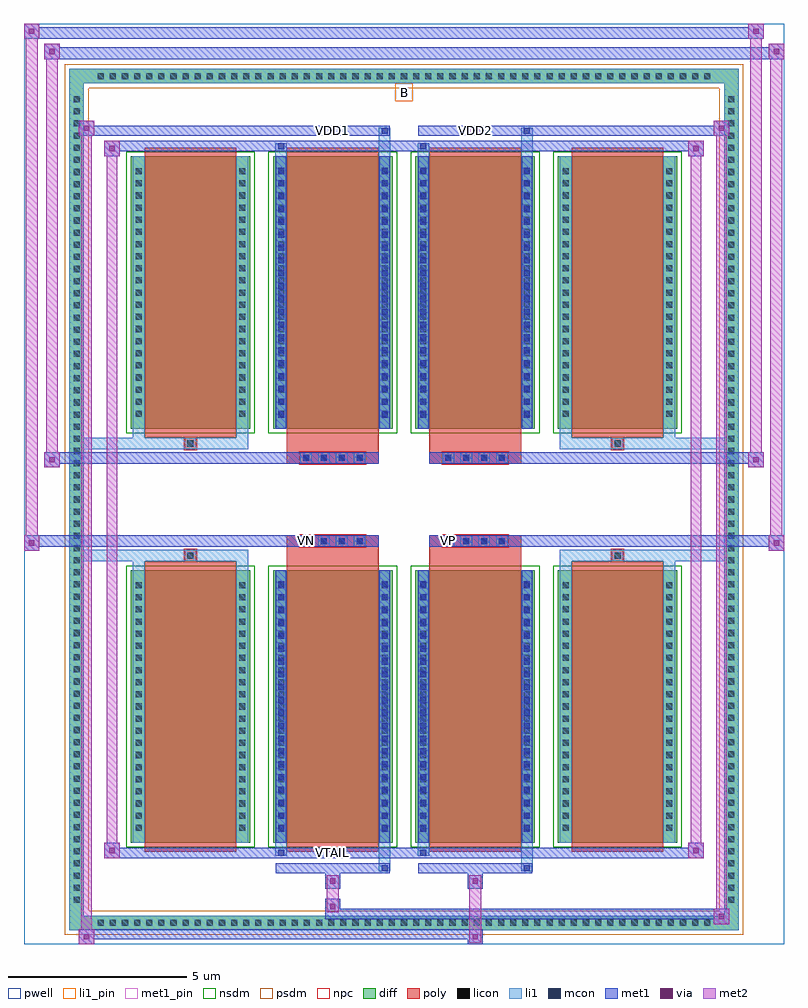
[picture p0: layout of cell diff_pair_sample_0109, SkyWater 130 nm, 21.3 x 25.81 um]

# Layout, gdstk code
import gdstk
lib = gdstk.Library(unit=1e-6, precision=5e-09)
def R(c, l, rs):  # rectangles x0, y0, x1, y1
    for r in rs: c.add(gdstk.rectangle(r[:2], r[2:], *l))
def A(c, l, x, y, w, h, nx, ny, dx, dy):  # array of equal rectangles
    R(c, l, [(x+i*dx, y+j*dy, x+i*dx+w, y+j*dy+h) for i in range(nx) for j in range(ny)])
def P(c, l, *ps):  # polygons
    for p in ps: c.add(gdstk.Polygon(p, *l))
pwell = (64, 44)
diff = (65, 20)
poly = (66, 20)
licon = (66, 44)
li1_pin = (67, 16)
li1 = (67, 20)
mcon = (67, 44)
met1_pin = (68, 16)
met1 = (68, 20)
via = (68, 44)
met2 = (69, 20)
nsdm = (93, 44)
psdm = (94, 20)
npc = (95, 20)

diff_pair_sample_0109 = lib.new_cell('diff_pair_sample_0109')
R(diff_pair_sample_0109, pwell, [(-10.65,-12.47,10.65,13.34), (-7.97,-10.66,-0.01,-0.8), (0.01,-10.66,7.97,-0.8), (-7.97,0.8,-0.01,10.66), (0.01,0.8,7.97,10.66)])
A(diff_pair_sample_0109, diff, -8.705, -12.07, 0.41, 0.41, 51, 2, 0.34, 23.73)
A(diff_pair_sample_0109, diff, -9.38, -11.425, 0.41, 0.41, 1, 67, 0, 0.34)
A(diff_pair_sample_0109, diff, 8.97, -11.425, 0.41, 0.41, 1, 67, 0, 0.34)
A(diff_pair_sample_0109, diff, -7.66, -9.615, 3.35, 7.63, 4, 2, 3.99, 11.6)
R(diff_pair_sample_0109, diff, [(-8.705,-12.07,8.705,-11.66), (-9.38,-11.425,-8.97,11.425), (8.97,-11.425,9.38,11.425), (-8.705,11.66,8.705,12.07)])
P(diff_pair_sample_0109, diff, [(9.38,12.07),(-9.38,12.07),(-9.38,-11.66),(-8.97,-11.66),(-8.97,11.66),(8.97,11.66),(8.97,-11.66),(-8.97,-11.66),(-9.38,-11.66),(-9.38,-12.07),(9.38,-12.07)])
A(diff_pair_sample_0109, poly, -7.27, -9.865, 2.57, 8.13, 4, 2, 3.99, 11.6)
A(diff_pair_sample_0109, poly, -2.91, -1.33, 0.33, 0.33, 4, 2, 0.5, 2.33)
A(diff_pair_sample_0109, poly, 1.08, -1.33, 0.33, 0.33, 4, 2, 0.5, 2.33)
R(diff_pair_sample_0109, poly, [(-6.15,-1.735,-5.82,-1.405), (-6.15,-1.735,-5.82,-1.405), (-3.28,-1.735,-0.71,-1.33), (0.71,-1.735,3.28,-1.33), (5.82,-1.735,6.15,-1.405), (5.82,-1.735,6.15,-1.405), (-3.28,-1.33,-0.71,-1), (0.71,-1.33,3.28,-1), (-3.28,1,-0.71,1.33), (0.71,1,3.28,1.33), (-3.28,1.33,-0.71,1.735), (0.71,1.33,3.28,1.735), (-6.15,1.405,-5.82,1.735), (-6.15,1.405,-5.82,1.735), (5.82,1.405,6.15,1.735), (5.82,1.405,6.15,1.735)])
A(diff_pair_sample_0109, licon, -8.585, -11.95, 0.17, 0.17, 51, 2, 0.34, 23.73)
A(diff_pair_sample_0109, licon, -9.26, -11.305, 0.17, 0.17, 1, 67, 0, 0.34)
A(diff_pair_sample_0109, licon, 9.09, -11.305, 0.17, 0.17, 1, 67, 0, 0.34)
A(diff_pair_sample_0109, licon, -7.52, -9.285, 0.17, 0.17, 1, 21, 0, 0.34)
A(diff_pair_sample_0109, licon, -4.62, -9.285, 0.17, 0.17, 1, 21, 0, 0.34)
A(diff_pair_sample_0109, licon, -3.53, -9.285, 0.17, 0.17, 1, 21, 0, 0.34)
A(diff_pair_sample_0109, licon, -0.63, -9.285, 0.17, 0.17, 1, 21, 0, 0.34)
A(diff_pair_sample_0109, licon, 0.46, -9.285, 0.17, 0.17, 1, 21, 0, 0.34)
A(diff_pair_sample_0109, licon, 3.36, -9.285, 0.17, 0.17, 1, 21, 0, 0.34)
A(diff_pair_sample_0109, licon, 4.45, -9.285, 0.17, 0.17, 1, 21, 0, 0.34)
A(diff_pair_sample_0109, licon, 7.35, -9.285, 0.17, 0.17, 1, 21, 0, 0.34)
A(diff_pair_sample_0109, licon, -2.83, -1.25, 0.17, 0.17, 4, 2, 0.5, 2.33)
A(diff_pair_sample_0109, licon, 1.16, -1.25, 0.17, 0.17, 4, 2, 0.5, 2.33)
A(diff_pair_sample_0109, licon, -7.52, 2.315, 0.17, 0.17, 1, 21, 0, 0.34)
A(diff_pair_sample_0109, licon, -4.62, 2.315, 0.17, 0.17, 1, 21, 0, 0.34)
A(diff_pair_sample_0109, licon, -3.53, 2.315, 0.17, 0.17, 1, 21, 0, 0.34)
A(diff_pair_sample_0109, licon, -0.63, 2.315, 0.17, 0.17, 1, 21, 0, 0.34)
A(diff_pair_sample_0109, licon, 0.46, 2.315, 0.17, 0.17, 1, 21, 0, 0.34)
A(diff_pair_sample_0109, licon, 3.36, 2.315, 0.17, 0.17, 1, 21, 0, 0.34)
A(diff_pair_sample_0109, licon, 4.45, 2.315, 0.17, 0.17, 1, 21, 0, 0.34)
A(diff_pair_sample_0109, licon, 7.35, 2.315, 0.17, 0.17, 1, 21, 0, 0.34)
R(diff_pair_sample_0109, licon, [(-6.07,-1.655,-5.9,-1.485), (5.9,-1.655,6.07,-1.485), (-6.07,1.485,-5.9,1.655), (5.9,1.485,6.07,1.655)])
R(diff_pair_sample_0109, li1_pin, [(-0.25,11.16,0.25,11.66)])
A(diff_pair_sample_0109, li1, -8.665, -12.03, 0.33, 0.33, 51, 2, 0.34, 23.73)
A(diff_pair_sample_0109, li1, -9.34, -11.385, 0.33, 0.33, 1, 67, 0, 0.34)
A(diff_pair_sample_0109, li1, 9.01, -11.385, 0.33, 0.33, 1, 67, 0, 0.34)
A(diff_pair_sample_0109, li1, -7.6, -9.365, 0.33, 0.33, 1, 21, 0, 0.34)
A(diff_pair_sample_0109, li1, -4.7, -9.365, 0.33, 0.33, 1, 21, 0, 0.34)
A(diff_pair_sample_0109, li1, -3.61, -9.365, 0.33, 0.33, 1, 21, 0, 0.34)
A(diff_pair_sample_0109, li1, -0.71, -9.365, 0.33, 0.33, 1, 21, 0, 0.34)
A(diff_pair_sample_0109, li1, 0.38, -9.365, 0.33, 0.33, 1, 21, 0, 0.34)
A(diff_pair_sample_0109, li1, 3.28, -9.365, 0.33, 0.33, 1, 21, 0, 0.34)
A(diff_pair_sample_0109, li1, 4.37, -9.365, 0.33, 0.33, 1, 21, 0, 0.34)
A(diff_pair_sample_0109, li1, 7.27, -9.365, 0.33, 0.33, 1, 21, 0, 0.34)
A(diff_pair_sample_0109, li1, -3.53, -9.305, 0.17, 0.17, 1, 20, 0, 0.36)
A(diff_pair_sample_0109, li1, -0.63, -9.305, 0.17, 0.17, 1, 20, 0, 0.36)
A(diff_pair_sample_0109, li1, 0.46, -9.305, 0.17, 0.17, 1, 20, 0, 0.36)
A(diff_pair_sample_0109, li1, 3.36, -9.305, 0.17, 0.17, 1, 20, 0, 0.36)
A(diff_pair_sample_0109, li1, -2.91, -1.33, 0.33, 0.33, 4, 2, 0.5, 2.33)
A(diff_pair_sample_0109, li1, 1.08, -1.33, 0.33, 0.33, 4, 2, 0.5, 2.33)
A(diff_pair_sample_0109, li1, -7.6, 2.235, 0.33, 0.33, 1, 21, 0, 0.34)
A(diff_pair_sample_0109, li1, -4.7, 2.235, 0.33, 0.33, 1, 21, 0, 0.34)
A(diff_pair_sample_0109, li1, -3.61, 2.235, 0.33, 0.33, 1, 21, 0, 0.34)
A(diff_pair_sample_0109, li1, -0.71, 2.235, 0.33, 0.33, 1, 21, 0, 0.34)
A(diff_pair_sample_0109, li1, 0.38, 2.235, 0.33, 0.33, 1, 21, 0, 0.34)
A(diff_pair_sample_0109, li1, 3.28, 2.235, 0.33, 0.33, 1, 21, 0, 0.34)
A(diff_pair_sample_0109, li1, 4.37, 2.235, 0.33, 0.33, 1, 21, 0, 0.34)
A(diff_pair_sample_0109, li1, 7.27, 2.235, 0.33, 0.33, 1, 21, 0, 0.34)
A(diff_pair_sample_0109, li1, -3.53, 2.295, 0.17, 0.17, 1, 20, 0, 0.36)
A(diff_pair_sample_0109, li1, -0.63, 2.295, 0.17, 0.17, 1, 20, 0, 0.36)
A(diff_pair_sample_0109, li1, 0.46, 2.295, 0.17, 0.17, 1, 20, 0, 0.36)
A(diff_pair_sample_0109, li1, 3.36, 2.295, 0.17, 0.17, 1, 20, 0, 0.36)
R(diff_pair_sample_0109, li1, [(-9.38,-12.07,-8.97,-11.66), (-9.38,-12.07,-8.97,-11.66), (-8.97,-12.07,8.97,-11.66), (8.97,-12.07,9.38,-11.66), (8.97,-12.07,9.38,-11.66), (-9.38,-11.66,-8.97,11.66), (8.97,-11.66,9.38,11.66), (-0.71,-10.42,-0.38,-9.615), (-0.63,-10.42,-0.46,-10.25), (3.28,-10.42,3.61,-9.615), (3.36,-10.42,3.53,-10.25), (-3.61,-9.99,-3.28,-9.615), (-3.53,-9.99,-3.36,-9.82), (0.38,-9.99,0.71,-9.615), (0.46,-9.99,0.63,-9.82), (-7.6,-9.615,-7.27,-1.985), (-4.7,-9.615,-4.37,-1.985), (-3.61,-9.615,-3.28,-1.985), (-0.71,-9.615,-0.38,-1.985), (0.38,-9.615,0.71,-1.985), (3.28,-9.615,3.61,-1.985), (4.37,-9.615,4.7,-1.985), (7.27,-9.615,7.6,-1.985), (-3.53,-9.305,-3.36,-2.295), (-0.63,-9.305,-0.46,-2.295), (0.46,-9.305,0.63,-2.295), (3.36,-9.305,3.53,-2.295), (-7.6,-1.985,-7.27,-1.405), (-4.7,-1.985,-4.37,-1.405), (4.37,-1.985,4.7,-1.405), (7.27,-1.985,7.6,-1.405), (-9.38,-1.735,-6.15,-1.405), (-7.6,-1.735,-6.15,-1.405), (-6.15,-1.735,-5.82,-1.405), (-5.82,-1.735,-4.37,-1.405), (4.37,-1.735,5.82,-1.405), (5.82,-1.735,6.15,-1.405), (5.82,-1.735,9.38,-1.405), (6.15,-1.735,7.6,-1.405), (-9.38,1.405,-6.15,1.735), (-7.6,1.405,-6.15,1.735), (-7.6,1.405,-7.27,1.985), (-6.15,1.405,-5.82,1.735), (-5.82,1.405,-4.37,1.735), (-4.7,1.405,-4.37,1.985), (4.37,1.405,5.82,1.735), (4.37,1.405,4.7,1.985), (5.82,1.405,6.15,1.735), (5.82,1.405,9.38,1.735), (6.15,1.405,7.6,1.735), (7.27,1.405,7.6,1.985), (-7.6,1.985,-7.27,9.615), (-4.7,1.985,-4.37,9.615), (-3.61,1.985,-3.28,9.615), (-0.71,1.985,-0.38,9.615), (0.38,1.985,0.71,9.615), (3.28,1.985,3.61,9.615), (4.37,1.985,4.7,9.615), (7.27,1.985,7.6,9.615), (-3.53,2.295,-3.36,9.305), (-0.63,2.295,-0.46,9.305), (0.46,2.295,0.63,9.305), (3.36,2.295,3.53,9.305), (-3.61,9.615,-3.28,9.99), (-0.71,9.615,-0.38,10.42), (0.38,9.615,0.71,9.99), (3.28,9.615,3.61,10.42), (-3.53,9.82,-3.36,9.99), (0.46,9.82,0.63,9.99), (-0.63,10.25,-0.46,10.42), (3.36,10.25,3.53,10.42), (-9.38,11.66,-8.97,12.07), (-9.38,11.66,-8.97,12.07), (-8.97,11.66,8.97,12.07), (8.97,11.66,9.38,12.07), (8.97,11.66,9.38,12.07)])
A(diff_pair_sample_0109, mcon, -3.53, -9.305, 0.17, 0.17, 1, 20, 0, 0.36)
A(diff_pair_sample_0109, mcon, -0.63, -9.305, 0.17, 0.17, 1, 20, 0, 0.36)
A(diff_pair_sample_0109, mcon, 0.46, -9.305, 0.17, 0.17, 1, 20, 0, 0.36)
A(diff_pair_sample_0109, mcon, 3.36, -9.305, 0.17, 0.17, 1, 20, 0, 0.36)
A(diff_pair_sample_0109, mcon, -2.83, -1.25, 0.17, 0.17, 4, 2, 0.5, 2.33)
A(diff_pair_sample_0109, mcon, 1.16, -1.25, 0.17, 0.17, 4, 2, 0.5, 2.33)
A(diff_pair_sample_0109, mcon, -3.53, 2.295, 0.17, 0.17, 1, 20, 0, 0.36)
A(diff_pair_sample_0109, mcon, -0.63, 2.295, 0.17, 0.17, 1, 20, 0, 0.36)
A(diff_pair_sample_0109, mcon, 0.46, 2.295, 0.17, 0.17, 1, 20, 0, 0.36)
A(diff_pair_sample_0109, mcon, 3.36, 2.295, 0.17, 0.17, 1, 20, 0, 0.36)
R(diff_pair_sample_0109, mcon, [(-0.63,-10.42,-0.46,-10.25), (3.36,-10.42,3.53,-10.25), (-3.53,-9.99,-3.36,-9.82), (0.46,-9.99,0.63,-9.82), (-3.53,9.82,-3.36,9.99), (0.46,9.82,0.63,9.99), (-0.63,10.25,-0.46,10.42), (3.36,10.25,3.53,10.42)])
R(diff_pair_sample_0109, met1_pin, [(-2.13,-10.03,-1.86,-9.76), (-2.88,-1.29,-2.61,-1.02), (1.11,-1.29,1.38,-1.02), (-2.13,10.21,-1.86,10.48), (1.86,10.21,2.13,10.48)])
A(diff_pair_sample_0109, met1, -3.59, -9.365, 0.29, 0.29, 1, 20, 0, 0.36)
A(diff_pair_sample_0109, met1, -0.69, -9.365, 0.29, 0.29, 1, 20, 0, 0.36)
A(diff_pair_sample_0109, met1, 0.4, -9.365, 0.29, 0.29, 1, 20, 0, 0.36)
A(diff_pair_sample_0109, met1, 3.3, -9.365, 0.29, 0.29, 1, 20, 0, 0.36)
A(diff_pair_sample_0109, met1, -2.89, -1.31, 0.29, 0.29, 4, 2, 0.5, 2.33)
A(diff_pair_sample_0109, met1, 1.1, -1.31, 0.29, 0.29, 4, 2, 0.5, 2.33)
A(diff_pair_sample_0109, met1, -3.59, 2.235, 0.29, 0.29, 1, 20, 0, 0.36)
A(diff_pair_sample_0109, met1, -0.69, 2.235, 0.29, 0.29, 1, 20, 0, 0.36)
A(diff_pair_sample_0109, met1, 0.4, 2.235, 0.29, 0.29, 1, 20, 0, 0.36)
A(diff_pair_sample_0109, met1, 3.3, 2.235, 0.29, 0.29, 1, 20, 0, 0.36)
R(diff_pair_sample_0109, met1, [(-9.11,-12.47,-8.68,-12.04), (1.78,-12.47,2.21,-12.04), (-9.11,-12.33,2.21,-12.04), (8.68,-11.9,9.11,-11.47), (-2.21,-11.76,9.11,-11.47), (-2.21,-11.62,-1.78,-11.19), (-2.21,-10.91,-1.78,-10.48), (1.78,-10.91,2.21,-10.48), (-3.59,-10.48,-0.4,-10.19), (-0.69,-10.48,-0.4,-10.19), (0.4,-10.48,3.59,-10.19), (3.3,-10.48,3.59,-10.19), (-8.4,-10.05,-7.97,-9.62), (-8.4,-10.05,-3.59,-9.76), (-3.59,-10.05,-3.3,-9.76), (-3.59,-10.05,-0.4,-9.76), (-0.4,-10.05,0.4,-9.76), (0.4,-10.05,0.69,-9.76), (0.4,-10.05,3.59,-9.76), (3.59,-10.05,8.4,-9.76), (7.97,-10.05,8.4,-9.62), (-3.59,-9.615,-3.3,-1.985), (-0.69,-9.615,-0.4,-1.985), (0.4,-9.615,0.69,-1.985), (3.3,-9.615,3.59,-1.985), (-10.65,-1.43,-10.22,-1), (10.22,-1.43,10.65,-1), (-10.65,-1.33,-0.71,-1), (-3.28,-1.33,-0.71,-1), (0.71,-1.33,3.28,-1), (0.71,-1.33,10.65,-1), (-10.08,0.9,-9.65,1.33), (9.65,0.9,10.08,1.33), (-10.08,1,-3.28,1.33), (-3.28,1,-0.71,1.33), (0.71,1,3.28,1.33), (3.28,1,10.08,1.33), (-3.59,1.985,-3.3,9.615), (-0.69,1.985,-0.4,9.615), (0.4,1.985,0.69,9.615), (3.3,1.985,3.59,9.615), (-8.4,9.62,-7.97,10.05), (7.97,9.62,8.4,10.05), (-8.4,9.76,-3.59,10.05), (-3.59,9.76,-3.3,10.05), (-3.59,9.76,-0.4,10.05), (-0.4,9.76,0.4,10.05), (0.4,9.76,0.69,10.05), (0.4,9.76,3.59,10.05), (3.59,9.76,8.4,10.05), (-9.11,10.19,-8.68,10.62), (-9.11,10.19,-3.59,10.48), (-3.59,10.19,-0.4,10.48), (-0.69,10.19,-0.4,10.48), (0.4,10.19,3.59,10.48), (3.3,10.19,3.59,10.48), (3.59,10.19,9.11,10.48), (8.68,10.19,9.11,10.62), (-10.08,12.34,-9.65,12.77), (-10.08,12.34,-7.97,12.67), (-7.97,12.34,7.97,12.67), (7.97,12.34,10.65,12.67), (10.22,12.34,10.65,12.77), (-10.65,12.91,-10.22,13.34), (-10.65,12.91,-7.97,13.24), (-7.97,12.91,7.97,13.24), (7.97,12.91,10.08,13.24), (9.65,12.91,10.08,13.34)])
R(diff_pair_sample_0109, via, [(-8.97,-12.33,-8.82,-12.18), (1.92,-12.33,2.07,-12.18), (8.82,-11.76,8.97,-11.61), (-2.07,-11.48,-1.92,-11.33), (-2.07,-10.77,-1.92,-10.62), (1.92,-10.77,2.07,-10.62), (-8.26,-9.91,-8.11,-9.76), (8.11,-9.91,8.26,-9.76), (-10.51,-1.29,-10.36,-1.14), (10.36,-1.29,10.51,-1.14), (-9.94,1.04,-9.79,1.19), (9.79,1.04,9.94,1.19), (-8.26,9.76,-8.11,9.91), (8.11,9.76,8.26,9.91), (-8.97,10.33,-8.82,10.48), (8.82,10.33,8.97,10.48), (-9.94,12.48,-9.79,12.63), (10.36,12.48,10.51,12.63), (-10.51,13.05,-10.36,13.2), (9.79,13.05,9.94,13.2)])
R(diff_pair_sample_0109, met2, [(-9.11,-12.47,-8.68,-12.04), (-9.04,-12.47,-8.75,10.62), (-8.75,-12.47,-8.68,-12.04), (-9.06,-12.42,-8.73,-12.09), (1.83,-12.42,2.16,-12.09), (1.83,-12.09,2.16,-10.86), (8.68,-11.9,9.11,-11.47), (8.75,-11.9,9.04,10.62), (9.04,-11.9,9.11,-11.47), (8.73,-11.85,9.06,-11.52), (-2.16,-11.57,-1.83,-11.24), (-2.16,-11.24,-1.83,-10.86), (-2.16,-10.86,-1.83,-10.53), (1.83,-10.86,2.16,-10.53), (-8.4,-10.05,-7.97,-9.62), (-8.33,-10.05,-8.04,10.05), (-8.04,-10.05,-7.97,-9.62), (7.97,-10.05,8.4,-9.62), (8.04,-10.05,8.33,10.05), (8.33,-10.05,8.4,-9.62), (-8.35,-10,-8.02,-9.67), (8.02,-10,8.35,-9.67), (-10.65,-1.43,-10.22,-1), (-10.6,-1.43,-10.27,13.34), (-10.27,-1.43,-10.22,-1), (10.22,-1.43,10.65,-1), (10.27,-1.43,10.6,12.77), (10.6,-1.43,10.65,-1), (-10.6,-1.38,-10.27,-1.05), (10.27,-1.38,10.6,-1.05), (-10.08,0.9,-9.65,1.33), (-10.03,0.9,-9.7,12.77), (-9.7,0.9,-9.65,1.33), (9.65,0.9,10.08,1.33), (9.7,0.9,10.03,13.34), (10.03,0.9,10.08,1.33), (-10.03,0.95,-9.7,1.28), (9.7,0.95,10.03,1.28), (-8.4,9.62,-7.97,10.05), (-8.04,9.62,-7.97,10.05), (7.97,9.62,8.4,10.05), (8.33,9.62,8.4,10.05), (-8.35,9.67,-8.02,10), (8.02,9.67,8.35,10), (-9.11,10.19,-8.68,10.62), (-8.75,10.19,-8.68,10.62), (8.68,10.19,9.11,10.62), (9.04,10.19,9.11,10.62), (-9.06,10.24,-8.73,10.57), (8.73,10.24,9.06,10.57), (-10.08,12.34,-9.65,12.77), (-9.7,12.34,-9.65,12.77), (10.22,12.34,10.65,12.77), (10.6,12.34,10.65,12.77), (-10.03,12.39,-9.7,12.72), (10.27,12.39,10.6,12.72), (-10.65,12.91,-10.22,13.34), (-10.27,12.91,-10.22,13.34), (9.65,12.91,10.08,13.34), (10.03,12.91,10.08,13.34), (-10.6,12.96,-10.27,13.29), (9.7,12.96,10.03,13.29)])
A(diff_pair_sample_0109, nsdm, -7.79, -9.745, 3.61, 7.89, 4, 2, 3.99, 11.6)
P(diff_pair_sample_0109, psdm, [(9.51,12.2),(-9.51,12.2),(-9.51,-11.53),(-8.84,-11.53),(-8.84,11.53),(8.84,11.53),(8.84,-11.53),(-8.84,-11.53),(-9.51,-11.53),(-9.51,-12.2),(9.51,-12.2)])
A(diff_pair_sample_0109, npc, -2.93, -1.35, 0.37, 0.37, 4, 2, 0.5, 2.33)
A(diff_pair_sample_0109, npc, 1.06, -1.35, 0.37, 0.37, 4, 2, 0.5, 2.33)
R(diff_pair_sample_0109, npc, [(-6.17,-1.755,-5.8,-1.385), (5.8,-1.755,6.17,-1.385), (-2.93,-1.35,-2.06,-0.98), (-2.93,-1.35,-2.06,-0.98), (-2.43,-1.35,-1.56,-0.98), (-2.43,-1.35,-1.56,-0.98), (-1.93,-1.35,-1.06,-0.98), (-1.93,-1.35,-1.06,-0.98), (1.06,-1.35,1.93,-0.98), (1.06,-1.35,1.93,-0.98), (1.56,-1.35,2.43,-0.98), (1.56,-1.35,2.43,-0.98), (2.06,-1.35,2.93,-0.98), (2.06,-1.35,2.93,-0.98), (-2.93,0.98,-2.06,1.35), (-2.93,0.98,-2.06,1.35), (-2.43,0.98,-1.56,1.35), (-2.43,0.98,-1.56,1.35), (-1.93,0.98,-1.06,1.35), (-1.93,0.98,-1.06,1.35), (1.06,0.98,1.93,1.35), (1.06,0.98,1.93,1.35), (1.56,0.98,2.43,1.35), (1.56,0.98,2.43,1.35), (2.06,0.98,2.93,1.35), (2.06,0.98,2.93,1.35), (-6.17,1.385,-5.8,1.755), (5.8,1.385,6.17,1.755)])
diff_pair_sample_0109.add(gdstk.Label('VTAIL', (-1.995,-9.895), layer=68, texttype=5))
diff_pair_sample_0109.add(gdstk.Label('VN', (-2.745,-1.155), layer=68, texttype=5))
diff_pair_sample_0109.add(gdstk.Label('VP', (1.245,-1.155), layer=68, texttype=5))
diff_pair_sample_0109.add(gdstk.Label('B', (0,11.41), layer=67, texttype=5))
diff_pair_sample_0109.add(gdstk.Label('VDD2', (1.995,10.345), layer=68, texttype=5))
diff_pair_sample_0109.add(gdstk.Label('VDD1', (-1.995,10.345), layer=68, texttype=5))

lib.write_gds('diff_pair_sample_0109.gds')
